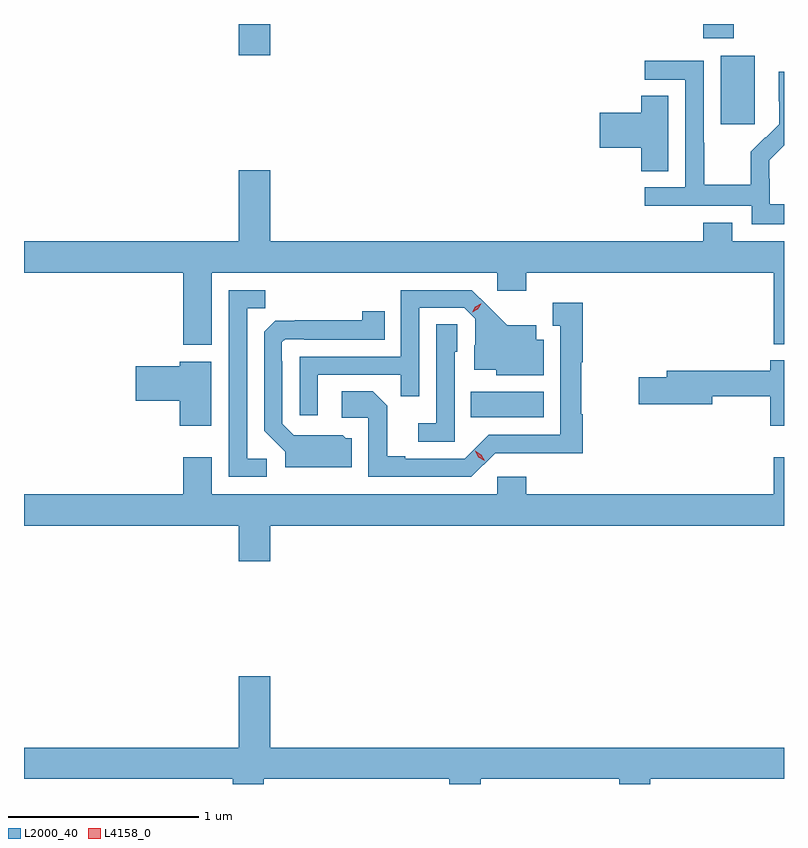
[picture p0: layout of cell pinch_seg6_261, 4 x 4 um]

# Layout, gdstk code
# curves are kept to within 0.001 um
import gdstk
lib = gdstk.Library(unit=1e-6, precision=1e-09)
def R(c, l, rs):  # rectangles x0, y0, x1, y1
    for r in rs: c.add(gdstk.rectangle(r[:2], r[2:], *l))
def P(c, l, *ps):  # polygons
    for p in ps: c.add(gdstk.Polygon(p, *l))
L2000_40 = (2000, 40)
L4158_0 = (4158, 0)

pinch_seg6_261 = lib.new_cell('pinch_seg6_261')
R(pinch_seg6_261, L2000_40, [(861.532,995.858,861.916,995.992), (862.847,997.401,863.026,997.762), (860.312,997.764,860.476,997.928), (862.757,997.853,862.917,997.928)])
P(pinch_seg6_261, L2000_40, [(863.181,996.979),(863.106,996.979),(863.106,997.113),(863.104,997.113),(863.104,997.21),(863.178,997.284),(863.177,997.285),(863.181,997.289),(863.181,997.676),(863.154,997.676),(863.154,997.522),(863.156,997.522),(863.156,997.4),(863.085,997.329),(863.082,997.332),(863.005,997.255),(863.005,997.081),(862.761,997.081),(862.761,997.304),(862.758,997.304),(862.758,997.734),(862.449,997.734),(862.449,997.635),(862.662,997.635),(862.662,997.068),(862.449,997.068),(862.449,996.972),(863.01,996.972),(863.01,996.875),(863.181,996.875)],
  [(862.573,997.55),(862.43,997.55),(862.43,997.46),(862.212,997.46),(862.212,997.277),(862.43,997.277),(862.43,997.153),(862.573,997.153)],
  [(860.17,996.62),(861.672,996.62),(861.672,996.525),(861.824,996.525),(861.824,996.62),(863.126,996.62),(863.126,996.242),(863.181,996.242),(863.181,996.784),(862.909,996.784),(862.909,996.883),(862.757,996.883),(862.757,996.784),(860.476,996.784),(860.476,997.159),(860.312,997.159),(860.312,996.784),(859.181,996.784),(859.181,996.62),(860.018,996.62),(860.018,996.24),(860.17,996.24)],
  [(860.727,996.081),(861.163,996.081),(861.163,995.968),(861.261,995.968),(861.261,996.435),(861.498,996.435),(861.555,996.378),(861.555,996.236),(861.551,996.236),(861.551,996.107),(861.666,996.107),(861.666,996.08),(861.916,996.08),(861.916,996.267),(861.877,996.267),(861.877,996.343),(861.725,996.343),(861.538,996.528),(861.165,996.528),(861.165,996.177),(860.631,996.177),(860.631,995.868),(860.727,995.868)],
  [(860.458,995.64),(860.355,995.64),(860.355,996.433),(860.451,996.433),(860.451,996.528),(860.259,996.528),(860.259,995.544),(860.458,995.544)],
  [(861.66,995.67),(862.123,995.669),(862.123,995.873),(862.115,995.873),(862.115,996.147),(862.123,996.147),(862.123,996.46),(861.965,996.46),(861.965,996.339),(862.004,996.339),(862.004,995.766),(861.627,995.766),(861.501,995.64),(861.187,995.64),(861.187,995.653),(861.093,995.653),(861.093,995.92),(861.017,995.996),(860.853,995.996),(860.853,995.856),(860.994,995.856),(860.994,995.544),(861.534,995.544)],
  [(860.905,995.748),(860.874,995.748),(860.858,995.764),(860.601,995.763),(860.541,995.823),(860.541,996.152),(860.538,996.152),(860.538,996.252),(860.556,996.27),(860.656,996.27),(860.656,996.267),(861.08,996.267),(861.08,996.415),(860.962,996.415),(860.962,996.368),(860.504,996.367),(860.445,996.308),(860.445,995.786),(860.555,995.676),(860.555,995.594),(860.905,995.594)],
  [(861.447,996.204),(861.462,996.204),(861.462,996.347),(861.351,996.347),(861.351,995.827),(861.255,995.827),(861.255,995.73),(861.447,995.73)],
  [(863.181,996.157),(863.108,996.157),(863.108,996.104),(862.565,996.104),(862.565,996.068),(862.416,996.068),(862.416,995.926),(862.804,995.926),(862.804,995.968),(863.108,995.968),(863.108,995.814),(863.181,995.814)],
  [(860.167,996.151),(860,996.151),(860,996.128),(859.77,996.128),(859.77,995.945),(860,995.945),(860,995.814),(860.167,995.814)],
  [(860.476,995.288),(863.181,995.288),(863.181,995.647),(863.126,995.647),(863.126,995.452),(861.824,995.452),(861.824,995.545),(861.672,995.545),(861.672,995.452),(860.17,995.452),(860.17,995.647),(860.018,995.647),(860.018,995.452),(859.181,995.452),(859.181,995.288),(860.312,995.288),(860.312,995.1),(860.476,995.1)],
  [(860.444,993.956),(861.419,993.956),(861.419,993.928),(861.584,993.928),(861.584,993.956),(862.313,993.956),(862.313,993.928),(862.478,993.928),(862.478,993.956),(863.181,993.956),(863.181,994.12),(860.476,994.12),(860.476,994.495),(860.312,994.495),(860.312,994.12),(859.181,994.12),(859.181,993.956),(860.279,993.956),(860.279,993.928),(860.444,993.928)])
P(pinch_seg6_261, L4158_0, [(861.605,995.63),(861.573,995.648),(861.555,995.681),(861.555,995.681),(861.556,995.681),(861.587,995.662),(861.605,995.63),(861.605,995.63)],
  [(861.539,996.411),(861.539,996.412),(861.556,996.441),(861.586,996.455),(861.587,996.455),(861.587,996.455),(861.569,996.426),(861.539,996.411)])

lib.write_gds('pinch_seg6_261.gds')
